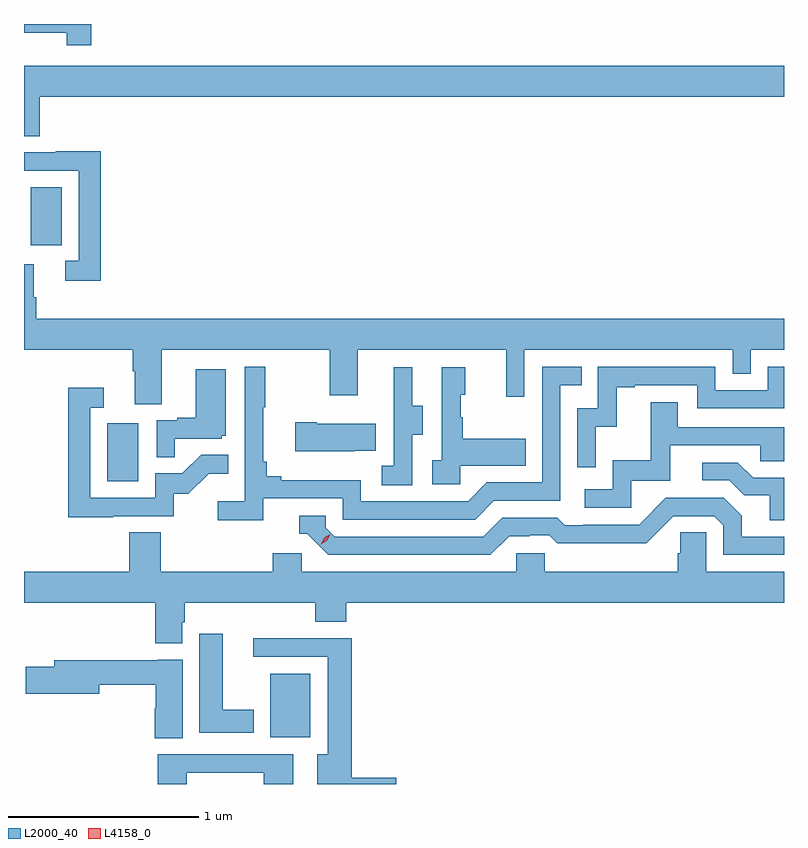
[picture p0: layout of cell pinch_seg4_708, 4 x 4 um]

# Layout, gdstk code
import gdstk
lib = gdstk.Library(unit=1e-6, precision=1e-09)
def R(c, l, rs):  # rectangles x0, y0, x1, y1
    for r in rs: c.add(gdstk.rectangle(r[:2], r[2:], *l))
def P(c, l, *ps):  # polygons
    for p in ps: c.add(gdstk.Polygon(p, *l))
L2000_40 = (2000, 40)
L4158_0 = (4158, 0)

pinch_seg4_708 = lib.new_cell('pinch_seg4_708')
R(pinch_seg4_708, L2000_40, [(839.726,822.752,839.938,823.087), (838.868,824.1,839.032,824.407), (838.466,825.342,838.63,825.649)])
P(pinch_seg4_708, L2000_40, [(838.784,826.507),(838.431,826.507),(838.431,826.46),(838.656,826.46),(838.656,826.395),(838.784,826.395)],
  [(838.514,826.124),(842.431,826.124),(842.431,826.288),(838.431,826.288),(838.431,825.916),(838.514,825.916)],
  [(838.835,825.836),(838.597,825.836),(838.597,825.831),(838.431,825.831),(838.431,825.735),(838.719,825.735),(838.719,825.261),(838.647,825.261),(838.647,825.156),(838.835,825.156)],
  [(839.155,824.792),(840.04,824.792),(840.04,824.553),(840.187,824.553),(840.187,824.792),(840.968,824.792),(840.968,824.544),(841.065,824.544),(841.065,824.792),(842.16,824.792),(842.16,824.665),(842.256,824.665),(842.256,824.792),(842.431,824.792),(842.431,824.956),(838.496,824.956),(838.496,825.068),(838.483,825.068),(838.483,825.242),(838.431,825.242),(838.431,824.792),(839.003,824.792),(839.003,824.68),(839.015,824.68),(839.015,824.506),(839.155,824.506)],
  [(839.69,824.01),(840.108,824.01),(840.108,823.899),(840.805,823.899),(840.904,823.998),(841.254,823.998),(841.254,824.607),(841.367,824.607),(841.367,824.703),(841.158,824.703),(841.158,824.094),(840.867,824.094),(840.768,823.995),(840.204,823.995),(840.204,824.107),(839.785,824.107),(839.785,824.126),(839.708,824.126),(839.708,824.203),(839.689,824.203),(839.689,824.491),(839.701,824.491),(839.701,824.704),(839.592,824.704),(839.592,823.996),(839.451,823.996),(839.451,823.894),(839.69,823.894)],
  [(841.44,824.387),(841.55,824.387),(841.55,824.595),(841.645,824.595),(841.645,824.607),(841.974,824.607),(841.974,824.484),(842.431,824.484),(842.431,824.703),(842.346,824.703),(842.346,824.58),(842.07,824.58),(842.07,824.703),(841.452,824.703),(841.452,824.484),(841.344,824.484),(841.344,824.175),(841.44,824.175)],
  [(840.726,824.183),(841.073,824.183),(841.073,824.323),(840.739,824.323),(840.739,824.438),(840.729,824.438),(840.729,824.556),(840.754,824.556),(840.754,824.701),(840.63,824.701),(840.63,824.21),(840.579,824.21),(840.579,824.085),(840.726,824.085)],
  [(840.474,824.344),(840.529,824.344),(840.529,824.499),(840.475,824.499),(840.475,824.701),(840.377,824.701),(840.377,824.487),(840.378,824.487),(840.378,824.183),(840.315,824.183),(840.315,824.08),(840.474,824.08)],
  [(839.225,824.325),(839.472,824.325),(839.472,824.34),(839.494,824.34),(839.494,824.689),(839.336,824.689),(839.336,824.434),(839.237,824.434),(839.237,824.421),(839.13,824.421),(839.13,824.227),(839.225,824.227)],
  [(838.901,823.917),(839.22,823.917),(839.22,824.034),(839.296,824.034),(839.403,824.141),(839.507,824.141),(839.507,824.24),(839.363,824.24),(839.265,824.142),(839.121,824.142),(839.121,824.013),(838.779,824.013),(838.779,824.487),(838.852,824.487),(838.852,824.593),(838.663,824.593),(838.663,823.912),(838.901,823.912)],
  [(841.626,824.103),(841.831,824.103),(841.831,824.289),(842.305,824.289),(842.305,824.205),(842.431,824.205),(842.431,824.385),(841.873,824.385),(841.873,824.515),(841.729,824.515),(841.729,824.212),(841.53,824.212),(841.53,824.058),(841.383,824.058),(841.383,823.962),(841.626,823.962)],
  [(840.173,824.261),(840.281,824.261),(840.281,824.404),(839.971,824.404),(839.971,824.412),(839.859,824.412),(839.859,824.258),(840.173,824.258)],
  [(842.431,824.118),(842.269,824.118),(842.188,824.199),(842.001,824.199),(842.001,824.106),(842.142,824.106),(842.222,824.026),(842.357,824.026),(842.357,823.894),(842.431,823.894)],
  [(840.985,823.812),(841.092,823.812),(841.092,823.815),(841.195,823.815),(841.237,823.773),(841.47,823.773),(841.47,823.775),(841.706,823.775),(841.848,823.917),(842.064,823.917),(842.112,823.869),(842.112,823.713),(842.431,823.713),(842.431,823.809),(842.209,823.809),(842.209,823.919),(842.115,824.013),(841.809,824.013),(841.668,823.872),(841.375,823.872),(841.375,823.869),(841.276,823.869),(841.237,823.908),(840.948,823.908),(840.849,823.809),(840.066,823.809),(840.018,823.857),(840.018,823.92),(839.879,823.92),(839.879,823.824),(839.922,823.824),(840.033,823.713),(840.886,823.713)],
  [(839.263,823.359),(839.276,823.359),(839.276,823.46),(839.963,823.46),(839.963,823.361),(840.128,823.361),(840.128,823.46),(842.431,823.46),(842.431,823.624),(842.022,823.624),(842.022,823.832),(841.885,823.832),(841.885,823.722),(841.871,823.722),(841.871,823.624),(841.173,823.624),(841.173,823.722),(841.023,823.722),(841.023,823.624),(839.892,823.624),(839.892,823.722),(839.741,823.722),(839.741,823.624),(839.15,823.624),(839.15,823.832),(838.985,823.832),(838.985,823.624),(838.431,823.624),(838.431,823.46),(839.123,823.46),(839.123,823.247),(839.263,823.247)],
  [(839.641,822.898),(839.476,822.898),(839.476,823.297),(839.354,823.297),(839.354,822.776),(839.641,822.776)],
  [(840.391,822.539),(840.155,822.539),(840.155,823.274),(839.637,823.274),(839.637,823.176),(840.029,823.176),(840.029,822.664),(839.975,822.664),(839.975,822.507),(840.391,822.507)],
  [(839.266,823.162),(839.136,823.162),(839.136,823.159),(838.589,823.159),(838.589,823.125),(838.44,823.125),(838.44,822.983),(838.828,822.983),(838.828,823.03),(839.125,823.03),(839.125,822.905),(839.12,822.905),(839.12,822.748),(839.266,822.748)],
  [(839.287,822.567),(839.692,822.567),(839.692,822.507),(839.848,822.507),(839.848,822.663),(839.135,822.663),(839.135,822.507),(839.287,822.507)])
P(pinch_seg4_708, L4158_0, [(839.996,823.77),(839.996,823.77),(840.012,823.803),(840.043,823.822),(840.043,823.822),(840.043,823.822),(840.027,823.789),(839.996,823.77)])

lib.write_gds('pinch_seg4_708.gds')
